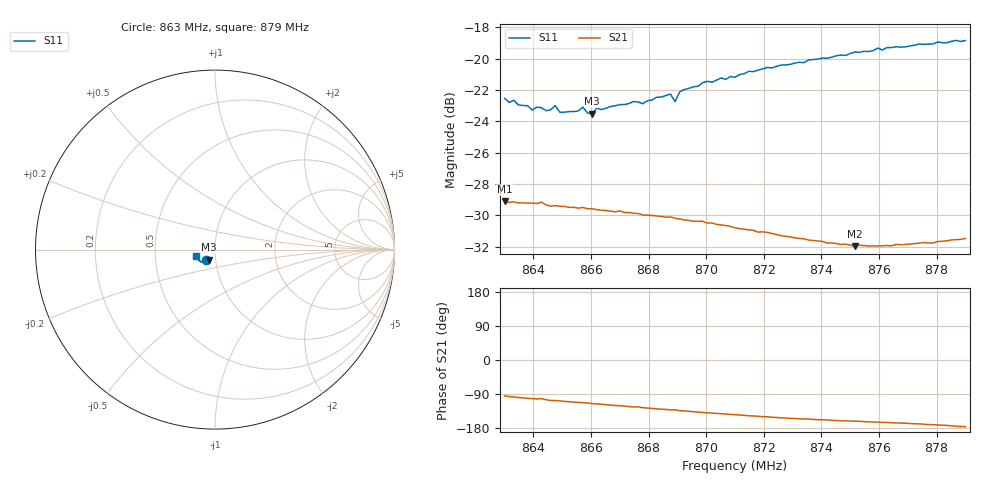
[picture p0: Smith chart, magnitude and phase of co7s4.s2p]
# HZ S RI R 50
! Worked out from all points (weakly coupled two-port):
!   101 points, 863 MHz to 879 MHz, reference 50 ohm
!   highest |S21| = -29.11 dB at 863 MHz (marker M1); lowest = -32.0 dB at 875.16 MHz (marker M2)
!   lowest |S11| = -23.5 dB at 866.04 MHz (marker M3), VSWR 1.14, Z = 46.3 - j5.22 ohm
!   |S11| at or under -10 dB: start of sweep to end of sweep
!   S12 and S22 are empty: the file has one direction only
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8.63e8  -0.0492 -0.0562  -0.00283 -0.0349  0 0  0 0
8.6396e8  -0.0429 -0.0533  -0.00707 -0.0339  0 0  0 0
8.6412e8  -0.0425 -0.0556  -0.00769 -0.0336  0 0  0 0
8.646e8  -0.0405 -0.0554  -0.00981 -0.0324  0 0  0 0
8.6476e8  -0.0442 -0.0552  -0.00991 -0.0325  0 0  0 0
8.6492e8  -0.0407 -0.0536  -0.0104 -0.0321  0 0  0 0
8.6508e8  -0.0378 -0.0558  -0.0111 -0.0319  0 0  0 0
8.6572e8  -0.0396 -0.0577  -0.013 -0.0309  0 0  0 0
8.6604e8  -0.0359 -0.0562  -0.014 -0.0301  0 0  0 0
8.662e8  -0.0372 -0.0587  -0.0144 -0.0296  0 0  0 0
8.6748e8  -0.0364 -0.0632  -0.0179 -0.0266  0 0  0 0
8.678e8  -0.0364 -0.0619  -0.0186 -0.0257  0 0  0 0
8.6844e8  -0.0384 -0.0648  -0.02 -0.0241  0 0  0 0
8.6876e8  -0.0388 -0.0665  -0.0208 -0.0233  0 0  0 0
8.6892e8  -0.0398 -0.061  -0.0205 -0.0231  0 0  0 0
8.6908e8  -0.0405 -0.067  -0.0213 -0.0222  0 0  0 0
8.6924e8  -0.0415 -0.0679  -0.0214 -0.0218  0 0  0 0
8.71e8  -0.0499 -0.0715  -0.0234 -0.0168  0 0  0 0
8.7372e8  -0.0694 -0.071  -0.0242 -0.0103  0 0  0 0
8.7516e8  -0.0816 -0.0659  -0.0239 -0.008  0 0  0 0
8.7644e8  -0.0906 -0.0595  -0.0245 -0.00618  0 0  0 0
8.79e8  -0.1075 -0.0383  -0.0266 -0.0019  0 0  0 0
